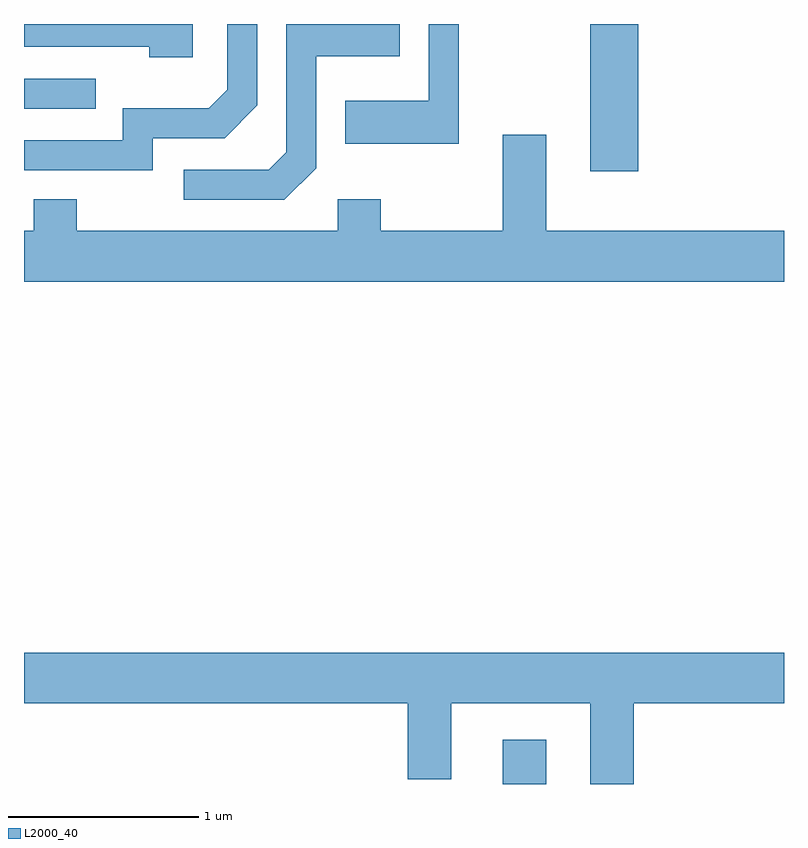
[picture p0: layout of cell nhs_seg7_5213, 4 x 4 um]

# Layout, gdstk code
import gdstk
lib = gdstk.Library(unit=1e-6, precision=1e-09)
def R(c, l, rs):  # rectangles x0, y0, x1, y1
    for r in rs: c.add(gdstk.rectangle(r[:2], r[2:], *l))
def P(c, l, *ps):  # polygons
    for p in ps: c.add(gdstk.Polygon(p, *l))
L2000_40 = (2000, 40)

nhs_seg7_5213 = lib.new_cell('nhs_seg7_5213')
R(nhs_seg7_5213, L2000_40, [(346.131,1798.252,346.359,1798.484), (346.591,1801.476,346.844,1802.252), (343.611,1801.806,343.988,1801.964)])
P(nhs_seg7_5213, L2000_40, [(345.149,1801.494),(345.149,1802.081),(345.589,1802.081),(345.589,1802.252),(344.991,1802.252),(344.991,1801.577),(344.899,1801.484),(344.453,1801.484),(344.453,1801.326),(344.982,1801.326)],
  [(344.289,1801.651),(344.667,1801.651),(344.839,1801.824),(344.839,1802.252),(344.681,1802.252),(344.681,1801.907),(344.584,1801.809),(344.131,1801.809),(344.131,1801.639),(343.611,1801.639),(343.611,1801.481),(344.289,1801.481)],
  [(345.899,1802.252),(345.741,1802.252),(345.741,1801.849),(345.301,1801.849),(345.301,1801.621),(345.899,1801.621)],
  [(344.499,1802.252),(343.611,1802.252),(343.611,1802.131),(344.271,1802.131),(344.271,1802.076),(344.499,1802.076)],
  [(346.131,1801.669),(346.131,1801.164),(345.489,1801.164),(345.489,1801.329),(345.261,1801.329),(345.261,1801.164),(343.889,1801.164),(343.889,1801.329),(343.661,1801.329),(343.661,1801.164),(343.611,1801.164),(343.611,1800.896),(347.611,1800.896),(347.611,1801.164),(346.359,1801.164),(346.359,1801.669)],
  [(346.819,1798.676),(347.611,1798.676),(347.611,1798.944),(343.611,1798.944),(343.611,1798.676),(345.631,1798.676),(345.631,1798.276),(345.859,1798.276),(345.859,1798.676),(346.591,1798.676),(346.591,1798.252),(346.819,1798.252)])

lib.write_gds('nhs_seg7_5213.gds')
